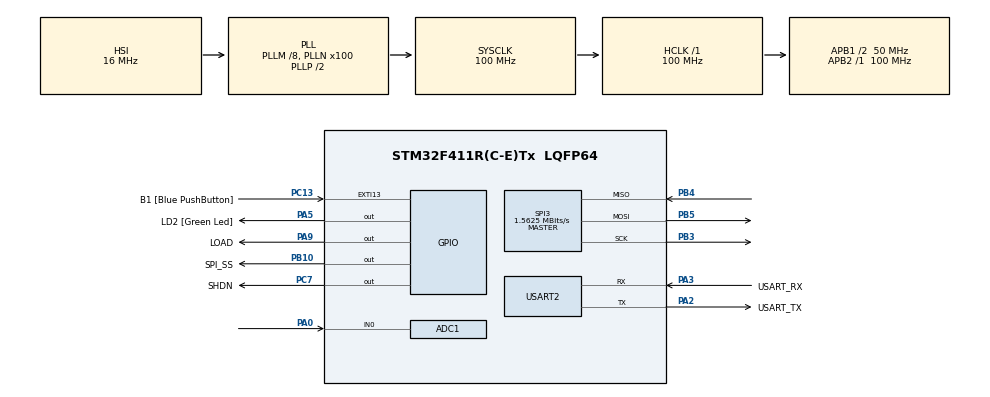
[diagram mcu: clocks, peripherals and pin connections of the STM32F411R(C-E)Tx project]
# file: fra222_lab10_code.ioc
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Mcu.Family=STM32F4
PB10.PinState=GPIO_PIN_SET
RCC.CortexFreq_Value=100000000
SPI3.Direction=SPI_DIRECTION_2LINES
SPI3.VirtualType=VM_MASTER
ADC1.ContinuousConvMode=DISABLE
PA14.GPIO_Label=TCK
RCC.SYSCLKSource=RCC_SYSCLKSOURCE_PLLCLK
ProjectManager.StackSize=0x400
NVIC.ADC_IRQn=true\:0\:0\:false\:false\:true\:true\:true
PH0\ -\ OSC_IN.Signal=RCC_OSC_IN
RCC.HCLKFreq_Value=100000000
RCC.APB2TimFreq_Value=100000000
TIM3.Period=100
Dma.ADC1.0.Direction=DMA_PERIPH_TO_MEMORY
PC7.Signal=GPIO_Output
NVIC.DMA2_Stream0_IRQn=true\:0\:0\:false\:false\:true\:false\:true
Dma.ADC1.0.MemDataAlignment=DMA_MDATAALIGN_HALFWORD
RCC.AHBFreq_Value=100000000
SPI3.DataSize=SPI_DATASIZE_16BIT
ADC1.Channel-0\#ChannelRegularConversion=ADC_CHANNEL_0
NVIC.TIM1_TRG_COM_TIM11_IRQn=true\:0\:0\:false\:false\:true\:true\:true
RCC.HSE_VALUE=8000000
PB3.Mode=Full_Duplex_Master
ADC1.ScanConvMode=ENABLE
PC13-ANTI_TAMP.Signal=GPXTI13
PB4.Mode=Full_Duplex_Master
PC14-OSC32_IN.Mode=LSE-External-Oscillator
PA14.Mode=Serial_Wire
TIM3.Prescaler=100
Dma.ADC1.0.PeriphInc=DMA_PINC_DISABLE
PB5.Mode=Full_Duplex_Master
PC7.PinState=GPIO_PIN_SET
SH.ADCx_IN0.0=ADC1_IN0,IN0
ADC1.SamplingTime-0\#ChannelRegularConversion=ADC_SAMPLETIME_3CYCLES
RCC.FLatency-AdvancedSettings=FLASH_LATENCY_3
Mcu.Package=LQFP64
SPI3.Mode=SPI_MODE_MASTER
USART2.VirtualMode=VM_ASYNC
PA2.GPIO_Label=USART_TX
NVIC.SPI3_IRQn=true\:0\:0\:false\:false\:true\:true\:true
RCC.APB1TimFreq_Value=100000000
Dma.ADC1.0.FIFOMode=DMA_FIFOMODE_DISABLE
Dma.Request0=ADC1
ADC1.EOCSelection=ADC_EOC_SEQ_CONV
VP_TIM3_VS_ClockSourceINT.Mode=Internal
PB4.Signal=SPI3_MISO
PA3.Signal=USART2_RX
PC15-OSC32_OUT.Mode=LSE-External-Oscillator
Dma.ADC1.0.Instance=DMA2_Stream0
ADC1.Rank-0\#ChannelRegularConversion=1
PC13-ANTI_TAMP.GPIO_Label=B1 [Blue PushButton]
PA9.GPIO_Label=LOAD
PH1\ -\ OSC_OUT.Mode=HSE-External-Clock-Source
ADC1.DiscontinuousConvMode=DISABLE
TIM11.Prescaler=100
RCC.APB1CLKDivider=RCC_HCLK_DIV2
PC14-OSC32_IN.Signal=RCC_OSC32_IN
NVIC.USART2_IRQn=true\:0\:0\:false\:false\:true\:true\:true
PA0-WKUP.Signal=ADCx_IN0
VP_TIM11_VS_ClockSourceINT.Mode=Enable_Timer
PA13.Signal=SYS_JTMS-SWDIO
PA3.Mode=Asynchronous
Dma.ADC1.0.PeriphDataAlignment=DMA_PDATAALIGN_HALFWORD
PH0\ -\ OSC_IN.Mode=HSE-External-Clock-Source
ProjectManager.TargetToolchain=STM32CubeIDE
PB10.GPIO_Label=SPI_SS
Dma.ADC1.0.Mode=DMA_CIRCULAR
Dma.ADC1.0.Priority=DMA_PRIORITY_LOW
PA9.Signal=GPIO_Output
PA9.PinState=GPIO_PIN_SET
PC15-OSC32_OUT.Signal=RCC_OSC32_OUT
PB10.Signal=GPIO_Output
PA5.Signal=GPIO_Output
PH1\ -\ OSC_OUT.Signal=RCC_OSC_OUT
board=NUCLEO-F411RE
RCC.VCOOutputFreq_Value=200000000
RCC.APB2Freq_Value=100000000
SPI3.CalculateBaudRate=1.5625 MBits/s
SPI3.BaudRatePrescaler=SPI_BAUDRATEPRESCALER_32
ADC1.DMAContinuousRequests=ENABLE
PA13.Mode=Serial_Wire
Mcu.Name=STM32F411R(C-E)Tx
PA2.Signal=USART2_TX
PA13.GPIO_Label=TMS
ADC1.ExternalTrigConv=ADC_EXTERNALTRIGCONV_T3_TRGO
PC7.GPIO_Label=SHDN
RCC.48MHZClocksFreq_Value=50000000
PB3.Signal=SPI3_SCK
RCC.SYSCLKFreq_VALUE=100000000
PB5.Signal=SPI3_MOSI
ADC1.master=1
PA5.GPIO_Label=LD2 [Green Led]
PC13-ANTI_TAMP.GPIO_ModeDefaultEXTI=GPIO_MODE_IT_FALLING
PA14.Signal=SYS_JTCK-SWCLK
Dma.ADC1.0.MemInc=DMA_MINC_ENABLE
ProjectManager.HeapSize=0x200
RCC.HSI_VALUE=16000000
NVIC.PriorityGroup=NVIC_PRIORITYGROUP_0
ADC1.NbrOfConversionFlag=1
RCC.PLLM=8
RCC.PLLN=100
PA2.Mode=Asynchronous
TIM3.TIM_MasterOutputTrigger=TIM_TRGO_UPDATE
RCC.APB1Freq_Value=50000000
PA3.GPIO_Label=USART_RX

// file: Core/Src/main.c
/* USER CODE BEGIN Header */
/**
 ******************************************************************************
 * @file           : main.c
 * @brief          : Main program body
 ******************************************************************************
 * @attention
 *
 * <h2><center>&copy; Copyright (c) 2021 STMicroelectronics.
 * All rights reserved.</center></h2>
 *
 * This software component is licensed by ST under BSD 3-Clause license,
 * the "License"; You may not use this file except in compliance with the
 * License. You may obtain a copy of the License at:
 *                        opensource.org/licenses/BSD-3-Clause
 *
 ******************************************************************************
 */
/* USER CODE END Header */
#include "main.h"

/* USER CODE BEGIN Includes */
#include <math.h>
#include <stdio.h>
#include <string.h>
/* USER CODE END Includes */

ADC_HandleTypeDef hadc1;
DMA_HandleTypeDef hdma_adc1;

SPI_HandleTypeDef hspi3;

TIM_HandleTypeDef htim3;
TIM_HandleTypeDef htim11;

UART_HandleTypeDef huart2;

/* USER CODE BEGIN PV */

//Read ADC
uint16_t ADCin = 0;

//Time in microsecond
uint64_t _micro = 0;

//SPI address
uint8_t DACConfig = 0b0011;
//SPI data (12 bits)
uint16_t dataOut = 0;

//Control variables
typedef struct
{
	double 	count;
	float 	frequency;
	float	max_voltage;
	float	min_voltage;
	uint8_t	duty_cycle;
	uint8_t wave_mode;
	uint8_t slope_down;
	uint64_t periodstamp;

} Generator;
Generator ControlVar = {0};

char RxDataBuffer[32] = {0};

typedef enum
{
	Main,
	Change_mode,
	Change_frequency,
	Change_max_voltage,
	Change_min_voltage,
	Change_duty_cycle

} State;
State UIState = Main;

/* USER CODE END PV */

void SystemClock_Config(void);
static void MX_GPIO_Init(void);
static void MX_DMA_Init(void);
static void MX_USART2_UART_Init(void);
static void MX_SPI3_Init(void);
static void MX_ADC1_Init(void);
static void MX_TIM3_Init(void);
static void MX_TIM11_Init(void);
/* USER CODE BEGIN PFP */

void updateUI(int16_t dataIn);
void updateStatus();
int16_t UARTRecieveIT();
void generatorInit(Generator *var);
void generator();
void MCP4922SetOutput(uint8_t Config, uint16_t DACOutput);
uint64_t micros();

/* USER CODE END PFP */

int main(void)
{

  /* MCU Configuration--------------------------------------------------------*/

  /* Reset of all peripherals, Initializes the Flash interface and the Systick. */
  HAL_Init();

  /* Configure the system clock */
  SystemClock_Config();

  /* Initialize all configured peripherals */
  MX_GPIO_Init();
  MX_DMA_Init();
  MX_USART2_UART_Init();
  MX_SPI3_Init();
  MX_ADC1_Init();
  MX_TIM3_Init();
  MX_TIM11_Init();
  /* USER CODE BEGIN 2 */

	HAL_TIM_Base_Start(&htim3);
	HAL_TIM_Base_Start_IT(&htim11);
	HAL_ADC_Start_DMA(&hadc1, (uint32_t*) &ADCin, 1);

	HAL_GPIO_WritePin(LOAD_GPIO_Port, LOAD_Pin, GPIO_PIN_RESET);

	generatorInit(&ControlVar);

	updateStatus();

  /* USER CODE END 2 */

  /* Infinite loop */
  /* USER CODE BEGIN WHILE */
	while (1)
	{
		//Read UART
		HAL_UART_Receive_IT(&huart2,  (uint8_t*)RxDataBuffer, 32);

		int16_t inputchar = UARTRecieveIT();
		if (inputchar!=-1)
		{
			updateUI(inputchar);
		}

    /* USER CODE END WHILE */

    /* USER CODE BEGIN 3 */

		static uint64_t timestamp = 0;
		if (micros() - timestamp > 100) // f 10kHz or T 100uS
		{
			timestamp = micros();
			generator();
		}
	}
  /* USER CODE END 3 */
}

void SystemClock_Config(void)
{
  RCC_OscInitTypeDef RCC_OscInitStruct = {0};
  RCC_ClkInitTypeDef RCC_ClkInitStruct = {0};

  /** Configure the main internal regulator output voltage
  */
  __HAL_RCC_PWR_CLK_ENABLE();
  __HAL_PWR_VOLTAGESCALING_CONFIG(PWR_REGULATOR_VOLTAGE_SCALE1);
  /** Initializes the RCC Oscillators according to the specified parameters
  * in the RCC_OscInitTypeDef structure.
  */
  RCC_OscInitStruct.OscillatorType = RCC_OSCILLATORTYPE_HSI;
  RCC_OscInitStruct.HSIState = RCC_HSI_ON;
  RCC_OscInitStruct.HSICalibrationValue = RCC_HSICALIBRATION_DEFAULT;
  RCC_OscInitStruct.PLL.PLLState = RCC_PLL_ON;
  RCC_OscInitStruct.PLL.PLLSource = RCC_PLLSOURCE_HSI;
  RCC_OscInitStruct.PLL.PLLM = 8;
  RCC_OscInitStruct.PLL.PLLN = 100;
  RCC_OscInitStruct.PLL.PLLP = RCC_PLLP_DIV2;
  RCC_OscInitStruct.PLL.PLLQ = 4;
  if (HAL_RCC_OscConfig(&RCC_OscInitStruct) != HAL_OK)
  {
    Error_Handler();
  }
  /** Initializes the CPU, AHB and APB buses clocks
  */
  RCC_ClkInitStruct.ClockType = RCC_CLOCKTYPE_HCLK|RCC_CLOCKTYPE_SYSCLK
                              |RCC_CLOCKTYPE_PCLK1|RCC_CLOCKTYPE_PCLK2;
  RCC_ClkInitStruct.SYSCLKSource = RCC_SYSCLKSOURCE_PLLCLK;
  RCC_ClkInitStruct.AHBCLKDivider = RCC_SYSCLK_DIV1;
  RCC_ClkInitStruct.APB1CLKDivider = RCC_HCLK_DIV2;
  RCC_ClkInitStruct.APB2CLKDivider = RCC_HCLK_DIV1;

  if (HAL_RCC_ClockConfig(&RCC_ClkInitStruct, FLASH_LATENCY_3) != HAL_OK)
  {
    Error_Handler();
  }
}

static void MX_ADC1_Init(void)
{

  ADC_ChannelConfTypeDef sConfig = {0};

  /** Configure the global features of the ADC (Clock, Resolution, Data Alignment and number of conversion)
  */
  hadc1.Instance = ADC1;
  hadc1.Init.ClockPrescaler = ADC_CLOCK_SYNC_PCLK_DIV4;
  hadc1.Init.Resolution = ADC_RESOLUTION_12B;
  hadc1.Init.ScanConvMode = ENABLE;
  hadc1.Init.ContinuousConvMode = DISABLE;
  hadc1.Init.DiscontinuousConvMode = DISABLE;
  hadc1.Init.ExternalTrigConvEdge = ADC_EXTERNALTRIGCONVEDGE_RISING;
  hadc1.Init.ExternalTrigConv = ADC_EXTERNALTRIGCONV_T3_TRGO;
  hadc1.Init.DataAlign = ADC_DATAALIGN_RIGHT;
  hadc1.Init.NbrOfConversion = 1;
  hadc1.Init.DMAContinuousRequests = ENABLE;
  hadc1.Init.EOCSelection = ADC_EOC_SEQ_CONV;
  if (HAL_ADC_Init(&hadc1) != HAL_OK)
  {
    Error_Handler();
  }
  /** Configure for the selected ADC regular channel its corresponding rank in the sequencer and its sample time.
  */
  sConfig.Channel = ADC_CHANNEL_0;
  sConfig.Rank = 1;
  sConfig.SamplingTime = ADC_SAMPLETIME_3CYCLES;
  if (HAL_ADC_ConfigChannel(&hadc1, &sConfig) != HAL_OK)
  {
    Error_Handler();
  }

}

static void MX_SPI3_Init(void)
{

  /* SPI3 parameter configuration*/
  hspi3.Instance = SPI3;
  hspi3.Init.Mode = SPI_MODE_MASTER;
  hspi3.Init.Direction = SPI_DIRECTION_2LINES;
  hspi3.Init.DataSize = SPI_DATASIZE_16BIT;
  hspi3.Init.CLKPolarity = SPI_POLARITY_LOW;
  hspi3.Init.CLKPhase = SPI_PHASE_1EDGE;
  hspi3.Init.NSS = SPI_NSS_SOFT;
  hspi3.Init.BaudRatePrescaler = SPI_BAUDRATEPRESCALER_32;
  hspi3.Init.FirstBit = SPI_FIRSTBIT_MSB;
  hspi3.Init.TIMode = SPI_TIMODE_DISABLE;
  hspi3.Init.CRCCalculation = SPI_CRCCALCULATION_DISABLE;
  hspi3.Init.CRCPolynomial = 10;
  if (HAL_SPI_Init(&hspi3) != HAL_OK)
  {
    Error_Handler();
  }

}

static void MX_TIM3_Init(void)
{

  TIM_ClockConfigTypeDef sClockSourceConfig = {0};
  TIM_MasterConfigTypeDef sMasterConfig = {0};

  htim3.Instance = TIM3;
  htim3.Init.Prescaler = 100;
  htim3.Init.CounterMode = TIM_COUNTERMODE_UP;
  htim3.Init.Period = 100;
  htim3.Init.ClockDivision = TIM_CLOCKDIVISION_DIV1;
  htim3.Init.AutoReloadPreload = TIM_AUTORELOAD_PRELOAD_DISABLE;
  if (HAL_TIM_Base_Init(&htim3) != HAL_OK)
  {
    Error_Handler();
  }
  sClockSourceConfig.ClockSource = TIM_CLOCKSOURCE_INTERNAL;
  if (HAL_TIM_ConfigClockSource(&htim3, &sClockSourceConfig) != HAL_OK)
  {
    Error_Handler();
  }
  sMasterConfig.MasterOutputTrigger = TIM_TRGO_UPDATE;
  sMasterConfig.MasterSlaveMode = TIM_MASTERSLAVEMODE_DISABLE;
  if (HAL_TIMEx_MasterConfigSynchronization(&htim3, &sMasterConfig) != HAL_OK)
  {
    Error_Handler();
  }

}

static void MX_TIM11_Init(void)
{

  htim11.Instance = TIM11;
  htim11.Init.Prescaler = 100;
  htim11.Init.CounterMode = TIM_COUNTERMODE_UP;
  htim11.Init.Period = 65535;
  htim11.Init.ClockDivision = TIM_CLOCKDIVISION_DIV1;
  htim11.Init.AutoReloadPreload = TIM_AUTORELOAD_PRELOAD_DISABLE;
  if (HAL_TIM_Base_Init(&htim11) != HAL_OK)
  {
    Error_Handler();
  }

}

static void MX_USART2_UART_Init(void)
{

  huart2.Instance = USART2;
  huart2.Init.BaudRate = 115200;
  huart2.Init.WordLength = UART_WORDLENGTH_8B;
  huart2.Init.StopBits = UART_STOPBITS_1;
  huart2.Init.Parity = UART_PARITY_NONE;
  huart2.Init.Mode = UART_MODE_TX_RX;
  huart2.Init.HwFlowCtl = UART_HWCONTROL_NONE;
  huart2.Init.OverSampling = UART_OVERSAMPLING_16;
  if (HAL_UART_Init(&huart2) != HAL_OK)
  {
    Error_Handler();
  }

}

static void MX_DMA_Init(void)
{

  /* DMA controller clock enable */
  __HAL_RCC_DMA2_CLK_ENABLE();

  /* DMA interrupt init */
  /* DMA2_Stream0_IRQn interrupt configuration */
  HAL_NVIC_SetPriority(DMA2_Stream0_IRQn, 0, 0);
  HAL_NVIC_EnableIRQ(DMA2_Stream0_IRQn);

}

static void MX_GPIO_Init(void)
{
  GPIO_InitTypeDef GPIO_InitStruct = {0};

  /* GPIO Ports Clock Enable */
  __HAL_RCC_GPIOC_CLK_ENABLE();
  __HAL_RCC_GPIOH_CLK_ENABLE();
  __HAL_RCC_GPIOA_CLK_ENABLE();
  __HAL_RCC_GPIOB_CLK_ENABLE();

  /*Configure GPIO pin Output Level */
  HAL_GPIO_WritePin(LD2_GPIO_Port, LD2_Pin, GPIO_PIN_RESET);

  /*Configure GPIO pin Output Level */
  HAL_GPIO_WritePin(SPI_SS_GPIO_Port, SPI_SS_Pin, GPIO_PIN_SET);

  /*Configure GPIO pin Output Level */
  HAL_GPIO_WritePin(SHDN_GPIO_Port, SHDN_Pin, GPIO_PIN_SET);

  /*Configure GPIO pin Output Level */
  HAL_GPIO_WritePin(LOAD_GPIO_Port, LOAD_Pin, GPIO_PIN_SET);

  /*Configure GPIO pin : B1_Pin */
  GPIO_InitStruct.Pin = B1_Pin;
  GPIO_InitStruct.Mode = GPIO_MODE_IT_FALLING;
  GPIO_InitStruct.Pull = GPIO_NOPULL;
  HAL_GPIO_Init(B1_GPIO_Port, &GPIO_InitStruct);

  /*Configure GPIO pins : LD2_Pin LOAD_Pin */
  GPIO_InitStruct.Pin = LD2_Pin|LOAD_Pin;
  GPIO_InitStruct.Mode = GPIO_MODE_OUTPUT_PP;
  GPIO_InitStruct.Pull = GPIO_NOPULL;
  GPIO_InitStruct.Speed = GPIO_SPEED_FREQ_LOW;
  HAL_GPIO_Init(GPIOA, &GPIO_InitStruct);

  /*Configure GPIO pin : SPI_SS_Pin */
  GPIO_InitStruct.Pin = SPI_SS_Pin;
  GPIO_InitStruct.Mode = GPIO_MODE_OUTPUT_PP;
  GPIO_InitStruct.Pull = GPIO_NOPULL;
  GPIO_InitStruct.Speed = GPIO_SPEED_FREQ_LOW;
  HAL_GPIO_Init(SPI_SS_GPIO_Port, &GPIO_InitStruct);

  /*Configure GPIO pin : SHDN_Pin */
  GPIO_InitStruct.Pin = SHDN_Pin;
  GPIO_InitStruct.Mode = GPIO_MODE_OUTPUT_PP;
  GPIO_InitStruct.Pull = GPIO_NOPULL;
  GPIO_InitStruct.Speed = GPIO_SPEED_FREQ_LOW;
  HAL_GPIO_Init(SHDN_GPIO_Port, &GPIO_InitStruct);

}

/* USER CODE BEGIN 4 */

void updateUI(int16_t dataIn)
{
	char temp[256];

	switch (UIState)
	{
		case Main:
			if (dataIn == 'm')
			{
				if (ControlVar.wave_mode == 0) {		//sawtooth
					sprintf(temp,
							"\r\n"
							"========================\r\n"
							"Change Mode to...\r\n"
							"========================\r\n"
					  		"[n] Sine-wave\r\n"
							"[q] Square-wave\r\n"
							"[x] back\r\n");
				}
				else if (ControlVar.wave_mode == 1) {	//sine-wave
					sprintf(temp,
							"\r\n"
							"========================\r\n"
							"Change Mode to...\r\n"
							"========================\r\n"
					  		"[w] Sawtooth\r\n"
							"[q] Square-wave\r\n"
							"[x] back\r\n");
				}
				else if (ControlVar.wave_mode == 2) {	//square-wave
					sprintf(temp,
							"\r\n"
							"========================\r\n"
							"Change Mode to...\r\n"
							"========================\r\n"
					  		"[w] Sawtooth\r\n"
							"[n] Sine-wave\r\n"
							"[x] back\r\n");
				}
				HAL_UART_Transmit(&huart2, (uint8_t*)temp, strlen(temp), 1000);

				UIState = Change_mode;
			}
			else if (dataIn == 'f')
			{
				sprintf(temp,
						"\r\n"
						"========================\r\n"
						"Change Frequency : %.1f Hz\r\n"
						"========================\r\n"
				  		"[1] Increase +1Hz\r\n"
						"[2] Decrease -1Hz\r\n"
				  		"[3] Increase +0.1Hz\r\n"
						"[4] Decrease -0.1Hz\r\n"
						"[x] back\r\n",
						ControlVar.frequency);
				HAL_UART_Transmit(&huart2, (uint8_t*)temp, strlen(temp), 1000);

				UIState = Change_frequency;
			}
			else if (dataIn == 'a')
			{
				sprintf(temp,
						"\r\n"
						"========================\r\n"
						"Change Max-voltage : %.1f V\r\n"
						"========================\r\n"
				  		"[1] Increase +1V\r\n"
						"[2] Decrease -1V\r\n"
				  		"[3] Increase +0.1V\r\n"
						"[4] Decrease -0.1V\r\n"
						"[x] back\r\n",
						ControlVar.max_voltage);
				HAL_UART_Transmit(&huart2, (uint8_t*)temp, strlen(temp), 1000);

				UIState = Change_max_voltage;
			}
			else if (dataIn == 'i')
			{
				sprintf(temp,
						"\r\n"
						"========================\r\n"
						"Change Min-voltage : %.1f V\r\n"
						"========================\r\n"
				  		"[1] Increase +1V\r\n"
						"[2] Decrease -1V\r\n"
				  		"[3] Increase +0.1V\r\n"
						"[4] Decrease -0.1V\r\n"
						"[x] back\r\n",
						ControlVar.min_voltage);
				HAL_UART_Transmit(&huart2, (uint8_t*)temp, strlen(temp), 1000);

				UIState = Change_min_voltage;
			}
			else if (dataIn == 's' && ControlVar.wave_mode == 0)
			{
				ControlVar.slope_down = !ControlVar.slope_down;

				updateStatus();
			}
			else if (dataIn == 'd' && ControlVar.wave_mode == 2)
			{
				sprintf(temp,
						"\r\n"
						"========================\r\n"
						"Change Duty-cycle : %d %\r\n"
						"========================\r\n"
				  		"[1] Increase +10%\r\n"
						"[2] Decrease -10%\r\n"
				  		"[3] Increase  +1%\r\n"
						"[4] Decrease  -1%\r\n"
						"[x] back\r\n",
						ControlVar.duty_cycle);
				HAL_UART_Transmit(&huart2, (uint8_t*)temp, strlen(temp), 1000);

				UIState = Change_duty_cycle;
			}
			break;

		case Change_mode:
			if (dataIn == 'w') {
				ControlVar.wave_mode = 0;
			}
			else if (dataIn == 'n') {
				ControlVar.wave_mode = 1;
			}
			else if (dataIn == 'q') {
				ControlVar.wave_mode = 2;
			}
			else if (dataIn == 'x') {
			}
			else {break;}

			updateStatus();

			UIState = Main;
			break;

		case Change_frequency:
			if (dataIn == '1' && ControlVar.frequency<=9.0001) {
				ControlVar.frequency += 1;
			}
			else if (dataIn == '2' && ControlVar.frequency>=0.9999) {
				ControlVar.frequency -= 1;
			}
			else if (dataIn == '3' && ControlVar.frequency<=9.9001) {
				ControlVar.frequency += 0.1;
			}
			else if (dataIn == '4' && ControlVar.frequency>=0.0999) {
				ControlVar.frequency -= 0.1;
			}
			else if (dataIn == 'x') {
				updateStatus();

				UIState = Main;
				break;
			}
			else {break;}

			sprintf(temp,
					"\r\n"
					"========================\r\n"
					"Change Frequency : %.1f Hz\r\n"
					"========================\r\n"
			  		"[1] Increase +1Hz\r\n"
					"[2] Decrease -1Hz\r\n"
			  		"[3] Increase +0.1Hz\r\n"
					"[4] Decrease -0.1Hz\r\n"
					"[x] back\r\n",
					ControlVar.frequency);
			HAL_UART_Transmit(&huart2, (uint8_t*)temp, strlen(temp), 1000);
			break;

		case Change_max_voltage:
			if (dataIn == '1' && ControlVar.max_voltage<=2.3001) {
				ControlVar.max_voltage += 1;
			}
			else if (dataIn == '2' && ControlVar.max_voltage>=0.9999 &&
					ControlVar.max_voltage-1 >= ControlVar.min_voltage+0.0999) {
				ControlVar.max_voltage -= 1;
			}
			else if (dataIn == '3' && ControlVar.max_voltage<=3.2001) {
				ControlVar.max_voltage += 0.1;
			}
			else if (dataIn == '4' && ControlVar.max_voltage>=0.0999 &&
					ControlVar.max_voltage-0.1 >= ControlVar.min_voltage+0.0999) {
				ControlVar.max_voltage -= 0.1;
			}
			else if (dataIn == 'x') {
				updateStatus();

				UIState = Main;
				break;
			}
			else {break;}

			sprintf(temp,
					"\r\n"
					"========================\r\n"
					"Change Max-voltage : %.1f V\r\n"
					"========================\r\n"
			  		"[1] Increase +1V\r\n"
					"[2] Decrease -1V\r\n"
			  		"[3] Increase +0.1V\r\n"
					"[4] Decrease -0.1V\r\n"
					"[x] back\r\n",
					ControlVar.max_voltage);
			HAL_UART_Transmit(&huart2, (uint8_t*)temp, strlen(temp), 1000);
			break;

		case Change_min_voltage:
			if (dataIn == '1' && ControlVar.min_voltage<=2.3001 &&
					ControlVar.min_voltage+1 <= ControlVar.max_voltage-0.0999) {
				ControlVar.min_voltage += 1;
			}
			else if (dataIn == '2' && ControlVar.min_voltage>=0.9999) {
				ControlVar.min_voltage -= 1;
			}
			else if (dataIn == '3' && ControlVar.min_voltage<=3.2001 &&
					ControlVar.min_voltage+0.1 <= ControlVar.max_voltage-0.0999) {
				ControlVar.min_voltage += 0.1;
			}
			else if (dataIn == '4' && ControlVar.min_voltage>=0.0999) {
				ControlVar.min_voltage -= 0.1;
			}
			else if (dataIn == 'x') {
				updateStatus();

				UIState = Main;
				break;
			}
			else {break;}

			sprintf(temp,
					"\r\n"
					"========================\r\n"
					"Change Min-voltage : %.1f V\r\n"
					"========================\r\n"
			  		"[1] Increase +1V\r\n"
					"[2] Decrease -1V\r\n"
			  		"[3] Increase +0.1V\r\n"
					"[4] Decrease -0.1V\r\n"
					"[x] back\r\n",
					ControlVar.min_voltage);
			HAL_UART_Transmit(&huart2, (uint8_t*)temp, strlen(temp), 1000);
			break;

		case Change_duty_cycle:
			if (dataIn == '1' && ControlVar.duty_cycle<=90) {
				ControlVar.duty_cycle += 10;
			}
			else if (dataIn == '2' && ControlVar.duty_cycle>=10) {
				ControlVar.duty_cycle -= 10;
			}
			else if (dataIn == '3' && ControlVar.duty_cycle<=99) {
				ControlVar.duty_cycle += 1;
			}
			else if (dataIn == '4' && ControlVar.duty_cycle>=1) {
				ControlVar.duty_cycle -= 1;
			}
			else if (dataIn == 'x') {
				updateStatus();

				UIState = Main;
				break;
			}
			else {break;}

			sprintf(temp,
					"\r\n"
					"========================\r\n"
					"Change Duty-cycle : %d %\r\n"
					"========================\r\n"
			  		"[1] Increase +10%\r\n"
					"[2] Decrease -10%\r\n"
			  		"[3] Increase  +1%\r\n"
					"[4] Decrease  -1%\r\n"
					"[x] back\r\n",
					ControlVar.duty_cycle);
			HAL_UART_Transmit(&huart2, (uint8_t*)temp, strlen(temp), 1000);
			break;

		default:
			break;
	}
}

void updateStatus()
{
	char temp[] = "\r\n"
			"========================\r\n"
			"MAIN MENU\r\n"
			"========================\r\n"
	  		"[m] Change Mode		: ";
	HAL_UART_Transmit(&huart2, (uint8_t*)temp, strlen(temp), 1000);

	switch (ControlVar.wave_mode) {
		case 0:
			sprintf(temp,
					"Sawtooth\r\n");
			break;
		case 1:
			sprintf(temp,
					"Sine-wave\r\n");
			break;
		case 2:
			sprintf(temp,
					"Square-wave\r\n");
			break;
		default:
			break;
	}
	HAL_UART_Transmit(&huart2, (uint8_t*)temp, strlen(temp), 1000);

	char temp2[128];
	sprintf(temp2,
	  		"[f] Change Frequency	: %.1f Hz\r\n"
			"[a] Change Max-voltage	: %.1f V\r\n"
			"[i] Change Min-voltage	: %.1f V\r\n",
			ControlVar.frequency,
			ControlVar.max_voltage,
			ControlVar.min_voltage);
	HAL_UART_Transmit(&huart2, (uint8_t*)temp2, strlen(temp2), 1000);

	if (ControlVar.wave_mode==0 && ControlVar.slope_down) {
		sprintf(temp2,
				"[s] Change Slope	: Down\r\n");
		HAL_UART_Transmit(&huart2, (uint8_t*)temp2, strlen(temp2), 1000);
	}
	else if (ControlVar.wave_mode==0 && !ControlVar.slope_down) {
		sprintf(temp2,
				"[s] Change Slope	: Up\r\n");
		HAL_UART_Transmit(&huart2, (uint8_t*)temp2, strlen(temp2), 1000);
	}
	else if (ControlVar.wave_mode==2) {
		sprintf(temp2,
				"[d] Change Duty-cycle	: %d %\r\n",
				ControlVar.duty_cycle);
		HAL_UART_Transmit(&huart2, (uint8_t*)temp2, strlen(temp2), 1000);
	}
}

int16_t UARTRecieveIT()
{
	//store last data position
	static uint32_t dataPos = 0;
	//create dummy data
	int16_t data=-1;
	//check
	if(huart2.RxXferSize - huart2.RxXferCount!=dataPos)
	{
		data=RxDataBuffer[dataPos];
		dataPos= (dataPos+1)%huart2.RxXferSize;
	}
	return data;
}

void generatorInit(Generator *var)
{
	var->wave_mode		= 0;
						//0:sawtooth
						//1:sinewave
						//2:squarewave
	var->count			= 0; 		//0-99 %
	var->frequency 		= 1;		//0-10 Hz
	var->max_voltage	= 3.3;		//0-3.3 V
	var->min_voltage	= 0;		//0-3.3 V
	var->duty_cycle		= 50;		//0-100 %
	var->slope_down		= 0;		//0:slope up 1:slope down (sawtooth mode)
	var->periodstamp	= micros();	//uS
}

void generator()
{
	//Count by normalized to 0-100
	ControlVar.count += 100 * ControlVar.frequency /10000.0;
	//Overflow
	if (ControlVar.frequency > 0.0001 &&
			micros()-ControlVar.periodstamp > 1/ControlVar.frequency*1000000) {
		ControlVar.count = 0; ControlVar.periodstamp = micros();}

	//Amplify to 12 bits (0-4096)
	switch (ControlVar.wave_mode)
	{
		case 0: //sawtooth
			if (ControlVar.slope_down) {							//slope down
				dataOut = (100-ControlVar.count) * (
						4096/3.3*ControlVar.max_voltage - 4096/3.3*ControlVar.min_voltage) /100
								+ 4096/3.3*ControlVar.min_voltage;
			} else {												//slope up
				dataOut = ControlVar.count * (
						4096/3.3*ControlVar.max_voltage - 4096/3.3*ControlVar.min_voltage) /100
								+ 4096/3.3*ControlVar.min_voltage;
			}
			break;

		case 1: //sinewave
			dataOut = (2048/3.3*ControlVar.max_voltage - 2048/3.3*ControlVar.min_voltage) * (
					sin(ControlVar.count*2.0/100.0*M_PI) + 1) + 4096/3.3*ControlVar.min_voltage;
			break;

		case 2: //squarewave
			if (ControlVar.count < ControlVar.duty_cycle) {
				dataOut = 4096/3.3*ControlVar.max_voltage;
			}
			else {
				dataOut = 4096/3.3*ControlVar.min_voltage;
			}
			break;

		default:
			break;
	}

	//Send the SPI data
	if (hspi3.State == HAL_SPI_STATE_READY
			&& HAL_GPIO_ReadPin(SPI_SS_GPIO_Port, SPI_SS_Pin) == GPIO_PIN_SET)
	{
		MCP4922SetOutput(DACConfig, dataOut);
	}
}

void MCP4922SetOutput(uint8_t Config, uint16_t DACOutput)
{
	uint32_t OutputPacket = (DACOutput & 0x0fff) | ((Config & 0xf) << 12);
	HAL_GPIO_WritePin(SPI_SS_GPIO_Port, SPI_SS_Pin, GPIO_PIN_RESET);
	HAL_SPI_Transmit_IT(&hspi3, &OutputPacket, 1);
}

void HAL_SPI_TxCpltCallback(SPI_HandleTypeDef *hspi)
{
	if (hspi == &hspi3)
	{
		HAL_GPIO_WritePin(SPI_SS_GPIO_Port, SPI_SS_Pin, GPIO_PIN_SET);
	}
}

void HAL_TIM_PeriodElapsedCallback(TIM_HandleTypeDef *htim)
{
	if (htim == &htim11)
	{
		_micro += 65535;
	}
}

inline uint64_t micros()
{
	return htim11.Instance->CNT + _micro;
}
/* USER CODE END 4 */

void Error_Handler(void)
{
	__disable_irq();
	while (1)
	{
	}
}

/************************ (C) COPYRIGHT STMicroelectronics *****END OF FILE****/
